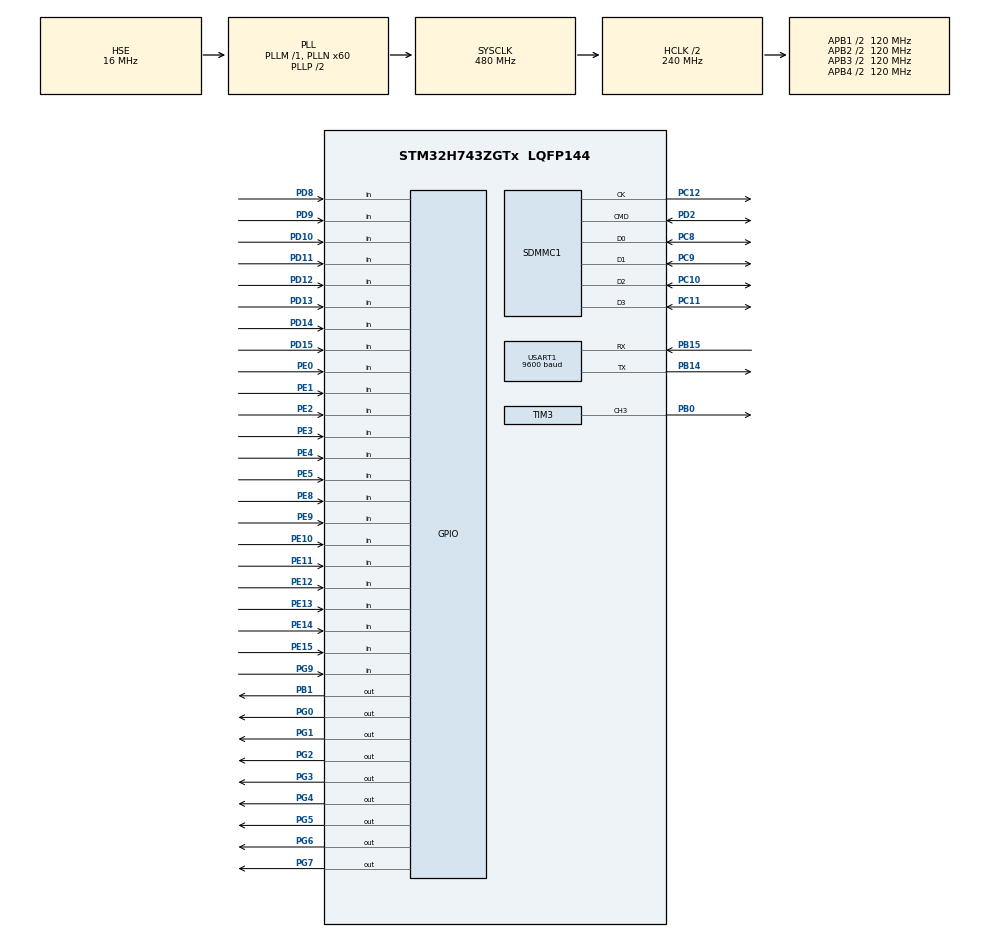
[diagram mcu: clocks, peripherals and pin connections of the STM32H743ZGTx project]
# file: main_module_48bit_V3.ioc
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Dma.Request0=TIM8_UP
Dma.Request1=TIM2_UP
Dma.TIM2_UP.1.Direction=DMA_PERIPH_TO_MEMORY
Dma.TIM2_UP.1.EventEnable=DISABLE
Dma.TIM2_UP.1.FIFOMode=DMA_FIFOMODE_DISABLE
Dma.TIM2_UP.1.Instance=DMA2_Stream0
Dma.TIM2_UP.1.MemDataAlignment=DMA_MDATAALIGN_HALFWORD
Dma.TIM2_UP.1.MemInc=DMA_MINC_ENABLE
Dma.TIM2_UP.1.Mode=DMA_NORMAL
Dma.TIM2_UP.1.PeriphDataAlignment=DMA_PDATAALIGN_HALFWORD
Dma.TIM2_UP.1.PeriphInc=DMA_PINC_DISABLE
Dma.TIM2_UP.1.Polarity=HAL_DMAMUX_REQ_GEN_RISING
Dma.TIM2_UP.1.Priority=DMA_PRIORITY_LOW
Dma.TIM2_UP.1.RequestNumber=1
Dma.TIM2_UP.1.SignalID=NONE
Dma.TIM2_UP.1.SyncEnable=DISABLE
Dma.TIM2_UP.1.SyncPolarity=HAL_DMAMUX_SYNC_NO_EVENT
Dma.TIM2_UP.1.SyncRequestNumber=1
Dma.TIM2_UP.1.SyncSignalID=NONE
Dma.TIM8_UP.0.Direction=DMA_MEMORY_TO_PERIPH
Dma.TIM8_UP.0.EventEnable=DISABLE
Dma.TIM8_UP.0.FIFOMode=DMA_FIFOMODE_DISABLE
Dma.TIM8_UP.0.Instance=DMA1_Stream0
Dma.TIM8_UP.0.MemDataAlignment=DMA_MDATAALIGN_WORD
Dma.TIM8_UP.0.MemInc=DMA_MINC_ENABLE
Dma.TIM8_UP.0.Mode=DMA_NORMAL
Dma.TIM8_UP.0.PeriphDataAlignment=DMA_PDATAALIGN_WORD
Dma.TIM8_UP.0.PeriphInc=DMA_PINC_DISABLE
Dma.TIM8_UP.0.Polarity=HAL_DMAMUX_REQ_GEN_RISING
Dma.TIM8_UP.0.Priority=DMA_PRIORITY_LOW
Dma.TIM8_UP.0.RequestNumber=1
Dma.TIM8_UP.0.SignalID=NONE
Dma.TIM8_UP.0.SyncEnable=DISABLE
Dma.TIM8_UP.0.SyncPolarity=HAL_DMAMUX_SYNC_NO_EVENT
Dma.TIM8_UP.0.SyncRequestNumber=1
Dma.TIM8_UP.0.SyncSignalID=NONE
Mcu.Family=STM32H7
Mcu.Name=STM32H743ZGTx
Mcu.Package=LQFP144
NVIC.PriorityGroup=NVIC_PRIORITYGROUP_4
NVIC.SDMMC1_IRQn=true\:0\:0\:false\:false\:true\:true\:true
NVIC.TIM3_IRQn=true\:0\:0\:true\:false\:true\:true\:true
NVIC.USART1_IRQn=true\:0\:0\:false\:false\:true\:true\:true
PB0.GPIO_Speed=GPIO_SPEED_FREQ_HIGH
PB0.Signal=S_TIM3_CH3
PB1.GPIO_Speed=GPIO_SPEED_FREQ_HIGH
PB1.Signal=GPIO_Output
PB14.Mode=Asynchronous
PB14.Signal=USART1_TX
PB15.Mode=Asynchronous
PB15.Signal=USART1_RX
PC10.Mode=SD_4_bits_Wide_bus
PC10.Signal=SDMMC1_D2
PC11.Mode=SD_4_bits_Wide_bus
PC11.Signal=SDMMC1_D3
PC12.Mode=SD_4_bits_Wide_bus
PC12.Signal=SDMMC1_CK
PC8.Mode=SD_4_bits_Wide_bus
PC8.Signal=SDMMC1_D0
PC9.Mode=SD_4_bits_Wide_bus
PC9.Signal=SDMMC1_D1
PD10.Signal=GPIO_Input
PD11.Signal=GPIO_Input
PD12.Signal=GPIO_Input
PD13.Signal=GPIO_Input
PD14.Signal=GPIO_Input
PD15.Signal=GPIO_Input
PD2.Mode=SD_4_bits_Wide_bus
PD2.Signal=SDMMC1_CMD
PD8.Signal=GPIO_Input
PD9.Signal=GPIO_Input
PE0.Signal=GPIO_Input
PE1.Signal=GPIO_Input
PE10.Signal=GPIO_Input
PE11.Signal=GPIO_Input
PE12.Signal=GPIO_Input
PE13.Signal=GPIO_Input
PE14.Signal=GPIO_Input
PE15.Signal=GPIO_Input
PE2.Signal=GPIO_Input
PE3.Signal=GPIO_Input
PE4.Signal=GPIO_Input
PE5.Signal=GPIO_Input
PE8.Signal=GPIO_Input
PE9.Signal=GPIO_Input
PG0.Signal=GPIO_Output
PG1.Signal=GPIO_Output
PG2.Signal=GPIO_Output
PG3.Signal=GPIO_Output
PG4.Signal=GPIO_Output
PG5.Signal=GPIO_Output
PG6.Signal=GPIO_Output
PG7.Signal=GPIO_Output
PG9.Signal=GPIO_Input
PH0-OSC_IN\ (PH0).Mode=HSE-External-Oscillator
PH0-OSC_IN\ (PH0).Signal=RCC_OSC_IN
PH1-OSC_OUT\ (PH1).Mode=HSE-External-Oscillator
PH1-OSC_OUT\ (PH1).Signal=RCC_OSC_OUT
ProjectManager.HeapSize=0x200
ProjectManager.StackSize=0x400
ProjectManager.TargetToolchain=STM32CubeIDE
RCC.ADCFreq_Value=120000000
RCC.APB1Freq_Value=120000000
RCC.APB2Freq_Value=120000000
RCC.APB3Freq_Value=120000000
RCC.APB4Freq_Value=120000000
RCC.CortexFreq_Value=480000000
RCC.D1PPRE=RCC_APB3_DIV2
RCC.D2PPRE1=RCC_APB1_DIV2
RCC.D2PPRE2=RCC_APB2_DIV2
RCC.D3PPRE=RCC_APB4_DIV2
RCC.DIVM1=1
RCC.DIVM2=1
RCC.DIVN1=60
RCC.DIVN2=15
RCC.DIVR2=1
RCC.HCLKFreq_Value=240000000
RCC.HPRE=RCC_HCLK_DIV2
RCC.HSE_VALUE=16000000
RCC.PLL1_VCO_SEL-AdvancedSettings=RCC_PLL1VCOMEDIUM
RCC.PLL2FRACN=0
RCC.PLL2_VCI_Range-AdvancedSettings=RCC_PLL2VCIRANGE_1
RCC.PLL2_VCO_SEL-AdvancedSettings=RCC_PLL2VCOMEDIUM
RCC.PLL3FRACN=0
RCC.PLLFRACN=0
RCC.PLLSourceVirtual=RCC_PLLSOURCE_HSE
RCC.PWR_Regulator_Voltage_Scale=PWR_REGULATOR_VOLTAGE_SCALE0
RCC.SDMMC1CLockSelection=RCC_SDMMCCLKSOURCE_PLL2
RCC.SYSCLKFreq_VALUE=480000000
RCC.SYSCLKSource=RCC_SYSCLKSOURCE_PLLCLK
RCC.USBFreq_Value=480000000
SDMMC1.ClockDiv=1
SDMMC1.HardwareFlowControl=SDMMC_HARDWARE_FLOW_CONTROL_ENABLE
SH.S_TIM3_CH3.0=TIM3_CH3,PWM Generation3 CH3
TIM2.Period=47
TIM3.Channel-Output\ Compare1\ No\ Output=TIM_CHANNEL_1
TIM3.Channel-PWM\ Generation3\ CH3=TIM_CHANNEL_3
TIM3.Period=9599
TIM3.Pulse-Output\ Compare1\ No\ Output=4799
TIM3.Pulse-PWM\ Generation3\ CH3=239
TIM8.Period=23
TIM8.Prescaler=0
TIM8.RepetitionCounter=0
USART1.BaudRate=9600
USART1.SwapParam=ADVFEATURE_SWAP_DISABLE
USART1.VirtualMode-Asynchronous=VM_ASYNC
VP_TIM2_VS_ClockSourceINT.Mode=Internal
VP_TIM3_VS_ClockSourceINT.Mode=Internal
VP_TIM3_VS_no_output1.Mode=Output Compare1 No Output
VP_TIM8_VS_ClockSourceINT.Mode=Internal
board=custom

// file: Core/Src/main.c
/* USER CODE BEGIN Header */
/**
  ******************************************************************************
  * @file           : main.c
  * @brief          : Main program body
  ******************************************************************************
  * @attention
  *
  * <h2><center>&copy; Copyright (c) 2022 STMicroelectronics.
  * All rights reserved.</center></h2>
  *
  * This software component is licensed by ST under Ultimate Liberty license
  * SLA0044, the "License"; You may not use this file except in compliance with
  * the License. You may obtain a copy of the License at:
  *                             www.st.com/SLA0044
  *
  ******************************************************************************
  */
/* USER CODE END Header */
#include "main.h"

/* USER CODE BEGIN Includes */
#include "sd_fifo/sd_fifo.h"
#include "simple_sd/simple_sd.h"

#include <string.h>
#include <stdio.h>
/* USER CODE END Includes */

SD_HandleTypeDef hsd1;

TIM_HandleTypeDef htim2;
TIM_HandleTypeDef htim3;
TIM_HandleTypeDef htim8;
DMA_HandleTypeDef hdma_tim2_up;
DMA_HandleTypeDef hdma_tim8_up;

UART_HandleTypeDef huart1;

/* USER CODE BEGIN PV */
extern void bit_parser(uint16_t* pData, uint16_t parsed[18]);
/* USER CODE END PV */

void SystemClock_Config(void);
static void MX_GPIO_Init(void);
static void MX_DMA_Init(void);
static void MX_TIM8_Init(void);
static void MX_TIM2_Init(void);
static void MX_SDMMC1_SD_Init(void);
static void MX_TIM3_Init(void);
static void MX_USART1_UART_Init(void);
/* USER CODE BEGIN PFP */
#define CLOCK_CNT		48

#define COL_SIZE    	(36)
#define CLK_BSRR_SIZE	(CLOCK_CNT * 2 + 2)
/* USER CODE END PFP */

/* USER CODE BEGIN 0 */
uint8_t rx;
uint8_t tx;

///////////////////////////////////////////////////////////////////////////////
// SD Variables
///////////////////////////////////////////////////////////////////////////////
enum LOG_STATE{
  LOG_IDLE,
  LOG_INIT,
  LOG_START,
  LOG_STOP,
  LOG_ERR
};

volatile enum LOG_STATE logState;

uint64_t log_bytes;
uint64_t log_blk;
uint8_t log_counts;

///////////////////////////////////////////////////////////////////////////////
// Channel Variables
///////////////////////////////////////////////////////////////////////////////
uint16_t channel_data[18];

uint32_t bsrr_clk[CLK_BSRR_SIZE] __attribute__((section(".dma.gpio")));
uint16_t idr_data[CLK_BSRR_SIZE >> 1] __attribute__((section(".dma.gpio"), aligned(32)));
uint16_t idr_data_tmp[CLK_BSRR_SIZE >> 1] __attribute__((aligned(32)));
void prepare_bsrr(){
	int i;

	memset(bsrr_clk, 0, sizeof(uint32_t) * CLK_BSRR_SIZE);

	// sclk : sync after 20us / 10MHz CLOCK_CNT
	for(i = 0; i < CLOCK_CNT; i++){
		bsrr_clk[2*i] |= 0x01UL << 1;
		bsrr_clk[2*i + 1] |= 0x01UL << 17;
	}
}

void reset_dma(){

	// [[ Read data ]]
	// Stop Timer
	__HAL_TIM_DISABLE(&htim2);
	htim2.Instance->CNT = 0;

	// Stop DMA & clear flags
	__HAL_TIM_DISABLE_DMA(&htim2, TIM_DMA_UPDATE);
	__HAL_DMA_DISABLE(&hdma_tim2_up);
	while(((DMA_Stream_TypeDef *)hdma_tim2_up.Instance)->CR & DMA_SxCR_EN);
	__HAL_DMA_CLEAR_FLAG(&hdma_tim2_up, DMA_FLAG_TCIF0_4 | DMA_FLAG_HTIF0_4 | DMA_FLAG_FEIF0_4);
	while(__HAL_DMA_GET_FLAG(&hdma_tim2_up, DMA_FLAG_TCIF0_4 | DMA_FLAG_HTIF0_4 | DMA_FLAG_FEIF0_4));

	// [[ Copy to temp ]]
	memcpy(idr_data_tmp, idr_data, CLOCK_CNT * 2);

	// Restart DMA
	__HAL_DMA_ENABLE(&hdma_tim2_up);
	__HAL_TIM_ENABLE_DMA(&htim2, TIM_DMA_UPDATE);

	// [[ Frame send ]]
	// Stop Timer
	__HAL_TIM_DISABLE(&htim8);
	htim8.Instance->CNT = 0;

	// Stop DMA & clear flags
	__HAL_TIM_DISABLE_DMA(&htim8, TIM_DMA_UPDATE);
	__HAL_DMA_DISABLE(&hdma_tim8_up);
	while(((DMA_Stream_TypeDef *)hdma_tim8_up.Instance)->CR & DMA_SxCR_EN);
	__HAL_DMA_CLEAR_FLAG(&hdma_tim8_up, DMA_FLAG_TCIF0_4 | DMA_FLAG_HTIF0_4 | DMA_FLAG_FEIF0_4);
	while(__HAL_DMA_GET_FLAG(&hdma_tim8_up, DMA_FLAG_TCIF0_4 | DMA_FLAG_HTIF0_4 | DMA_FLAG_FEIF0_4));

	// Restart DMA
	__HAL_DMA_ENABLE(&hdma_tim8_up);
	__HAL_TIM_ENABLE_DMA(&htim8, TIM_DMA_UPDATE);

	// Restart Timer
	__HAL_TIM_ENABLE(&htim8);
	__HAL_TIM_ENABLE(&htim2);
}

volatile static uint32_t e1,e2, de, de_max;
void HAL_TIM_OC_DelayElapsedCallback(TIM_HandleTypeDef *htim){
	if(htim == &htim3){
		e1 = htim3.Instance->CNT;
		reset_dma();

		bit_parser(idr_data_tmp, channel_data);
		e2 = htim3.Instance->CNT;
		de = e2 - e1;
		if(de_max < de) de_max = de;

		// [[ Logging ]]
		if(logState == LOG_START){
			if(!FIFO_put((uint8_t*)channel_data, COL_SIZE)){
				logState = LOG_ERR;
			}
		}
	}
}

void HAL_UART_RxCpltCallback(UART_HandleTypeDef *huart){
	if(huart == &huart1){
		if(rx == '1' && logState == LOG_IDLE){
			logState = LOG_INIT;
			HAL_UART_Transmit_IT(&huart1, "Log start!\r\n", 13);
		}else if(rx == '0' && logState == LOG_START){
			logState = LOG_STOP;
			HAL_UART_Transmit_IT(&huart1, "Log stop!\r\n", 12);
		}

		HAL_UART_Receive_IT(&huart1, &rx, 1);

	}
}

/* USER CODE END 0 */

int main(void)
{

  /* MCU Configuration--------------------------------------------------------*/

  /* Reset of all peripherals, Initializes the Flash interface and the Systick. */
  HAL_Init();

  /* Configure the system clock */
  SystemClock_Config();

  /* Initialize all configured peripherals */
  MX_GPIO_Init();
  MX_DMA_Init();
  MX_TIM8_Init();
  MX_TIM2_Init();
  MX_SDMMC1_SD_Init();
  MX_TIM3_Init();
  MX_USART1_UART_Init();
  /* USER CODE BEGIN 2 */

  // [[ Prepare CLK & SYNC ]]
  prepare_bsrr();

  FIFO_init();

  log_counts = 1;

  HAL_DMA_Start(&hdma_tim8_up, (uint32_t)bsrr_clk, (uint32_t)&GPIOB->BSRR, CLK_BSRR_SIZE);
  __HAL_TIM_ENABLE_DMA(&htim8, TIM_DMA_UPDATE);
  HAL_TIM_Base_Start(&htim8);

  // [[ Prepare DATA IN ]]
  HAL_DMA_Start(&hdma_tim2_up, (uint32_t)&GPIOE->IDR, (uint32_t)idr_data, CLK_BSRR_SIZE >> 1);
  __HAL_TIM_ENABLE_DMA(&htim2, TIM_DMA_UPDATE);
  HAL_TIM_Base_Start(&htim2);

  // [[ Start main timer ]]
  HAL_TIM_PWM_Start(&htim3, TIM_CHANNEL_3);
  HAL_TIM_OC_Start_IT(&htim3, TIM_CHANNEL_1);

  // [[ UART Interrupt Enable ]]
  HAL_UART_Receive_IT(&huart1, &rx, 1);

  /* USER CODE END 2 */

  /* Infinite loop */
  /* USER CODE BEGIN WHILE */
  while (1)
  {
		// Non real-time tasks
		switch (logState) {
		case LOG_IDLE :
			break;
		case LOG_INIT:
		{
			FIFO_init();
			if (Simple_SD_Init() != HAL_OK) {
				logState = LOG_ERR;
				break;
			}

			log_blk = 1; // one block offset
			log_bytes = 0;
			logState = LOG_START;

			break;

		}
		case LOG_STOP:
		{
			// Write header
			uint8_t *header = 0x24000000;
			memset(header, 0, 512);

			header[0] = 0x12;
			header[1] = 0x34;
			header[2] = 0x56;
			header[3] = 0x78;

			log_blk --;
			memcpy(header + 4, &log_blk, sizeof(uint64_t));
			if (Simple_SD_WriteBlocks_DMA(header, 0, 1) != HAL_OK) {
				logState = LOG_ERR;
			}else
				logState = LOG_IDLE;
		}
			break;

		case LOG_ERR:
			HAL_SD_DeInit(&hsd1);
			HAL_Delay(500);

			while(1){
				//NVIC_SystemReset();
			}

			break;

		case LOG_START:
		{
			uint8_t *tmp;
			tmp = FIFO_get();
			if (tmp != 0) {
				if (Simple_SD_WriteBlocks_DMA(tmp, log_blk, FIFO_BLK_SIZE / 512) != HAL_OK) {
					logState = LOG_ERR;
				}
				log_bytes += FIFO_BLK_SIZE;
				log_blk += FIFO_BLK_SIZE / 512;
			}
		}
			break;

		default:
			break;
		}
    /* USER CODE END WHILE */

  }
}

void SystemClock_Config(void)
{
  RCC_OscInitTypeDef RCC_OscInitStruct = {0};
  RCC_ClkInitTypeDef RCC_ClkInitStruct = {0};

  /** Supply configuration update enable
  */
  HAL_PWREx_ConfigSupply(PWR_LDO_SUPPLY);
  /** Configure the main internal regulator output voltage
  */
  __HAL_PWR_VOLTAGESCALING_CONFIG(PWR_REGULATOR_VOLTAGE_SCALE0);

  while(!__HAL_PWR_GET_FLAG(PWR_FLAG_VOSRDY)) {}
  /** Macro to configure the PLL clock source
  */
  __HAL_RCC_PLL_PLLSOURCE_CONFIG(RCC_PLLSOURCE_HSE);
  /** Initializes the RCC Oscillators according to the specified parameters
  * in the RCC_OscInitTypeDef structure.
  */
  RCC_OscInitStruct.OscillatorType = RCC_OSCILLATORTYPE_HSE;
  RCC_OscInitStruct.HSEState = RCC_HSE_ON;
  RCC_OscInitStruct.PLL.PLLState = RCC_PLL_ON;
  RCC_OscInitStruct.PLL.PLLSource = RCC_PLLSOURCE_HSE;
  RCC_OscInitStruct.PLL.PLLM = 1;
  RCC_OscInitStruct.PLL.PLLN = 60;
  RCC_OscInitStruct.PLL.PLLP = 2;
  RCC_OscInitStruct.PLL.PLLQ = 2;
  RCC_OscInitStruct.PLL.PLLR = 2;
  RCC_OscInitStruct.PLL.PLLRGE = RCC_PLL1VCIRANGE_3;
  RCC_OscInitStruct.PLL.PLLVCOSEL = RCC_PLL1VCOWIDE;
  RCC_OscInitStruct.PLL.PLLFRACN = 0;
  if (HAL_RCC_OscConfig(&RCC_OscInitStruct) != HAL_OK)
  {
    Error_Handler();
  }
  /** Initializes the CPU, AHB and APB buses clocks
  */
  RCC_ClkInitStruct.ClockType = RCC_CLOCKTYPE_HCLK|RCC_CLOCKTYPE_SYSCLK
                              |RCC_CLOCKTYPE_PCLK1|RCC_CLOCKTYPE_PCLK2
                              |RCC_CLOCKTYPE_D3PCLK1|RCC_CLOCKTYPE_D1PCLK1;
  RCC_ClkInitStruct.SYSCLKSource = RCC_SYSCLKSOURCE_PLLCLK;
  RCC_ClkInitStruct.SYSCLKDivider = RCC_SYSCLK_DIV1;
  RCC_ClkInitStruct.AHBCLKDivider = RCC_HCLK_DIV2;
  RCC_ClkInitStruct.APB3CLKDivider = RCC_APB3_DIV2;
  RCC_ClkInitStruct.APB1CLKDivider = RCC_APB1_DIV2;
  RCC_ClkInitStruct.APB2CLKDivider = RCC_APB2_DIV2;
  RCC_ClkInitStruct.APB4CLKDivider = RCC_APB4_DIV2;

  if (HAL_RCC_ClockConfig(&RCC_ClkInitStruct, FLASH_LATENCY_4) != HAL_OK)
  {
    Error_Handler();
  }
}

static void MX_SDMMC1_SD_Init(void)
{

  hsd1.Instance = SDMMC1;
  hsd1.Init.ClockEdge = SDMMC_CLOCK_EDGE_RISING;
  hsd1.Init.ClockPowerSave = SDMMC_CLOCK_POWER_SAVE_DISABLE;
  hsd1.Init.BusWide = SDMMC_BUS_WIDE_4B;
  hsd1.Init.HardwareFlowControl = SDMMC_HARDWARE_FLOW_CONTROL_ENABLE;
  hsd1.Init.ClockDiv = 1;
  if (HAL_SD_Init(&hsd1) != HAL_OK)
  {
    Error_Handler();
  }

}

static void MX_TIM2_Init(void)
{

  TIM_ClockConfigTypeDef sClockSourceConfig = {0};
  TIM_MasterConfigTypeDef sMasterConfig = {0};

  htim2.Instance = TIM2;
  htim2.Init.Prescaler = 0;
  htim2.Init.CounterMode = TIM_COUNTERMODE_UP;
  htim2.Init.Period = 47;
  htim2.Init.ClockDivision = TIM_CLOCKDIVISION_DIV1;
  htim2.Init.AutoReloadPreload = TIM_AUTORELOAD_PRELOAD_DISABLE;
  if (HAL_TIM_Base_Init(&htim2) != HAL_OK)
  {
    Error_Handler();
  }
  sClockSourceConfig.ClockSource = TIM_CLOCKSOURCE_INTERNAL;
  if (HAL_TIM_ConfigClockSource(&htim2, &sClockSourceConfig) != HAL_OK)
  {
    Error_Handler();
  }
  sMasterConfig.MasterOutputTrigger = TIM_TRGO_RESET;
  sMasterConfig.MasterSlaveMode = TIM_MASTERSLAVEMODE_DISABLE;
  if (HAL_TIMEx_MasterConfigSynchronization(&htim2, &sMasterConfig) != HAL_OK)
  {
    Error_Handler();
  }

}

static void MX_TIM3_Init(void)
{

  TIM_ClockConfigTypeDef sClockSourceConfig = {0};
  TIM_MasterConfigTypeDef sMasterConfig = {0};
  TIM_OC_InitTypeDef sConfigOC = {0};

  htim3.Instance = TIM3;
  htim3.Init.Prescaler = 0;
  htim3.Init.CounterMode = TIM_COUNTERMODE_UP;
  htim3.Init.Period = 9599;
  htim3.Init.ClockDivision = TIM_CLOCKDIVISION_DIV1;
  htim3.Init.AutoReloadPreload = TIM_AUTORELOAD_PRELOAD_DISABLE;
  if (HAL_TIM_Base_Init(&htim3) != HAL_OK)
  {
    Error_Handler();
  }
  sClockSourceConfig.ClockSource = TIM_CLOCKSOURCE_INTERNAL;
  if (HAL_TIM_ConfigClockSource(&htim3, &sClockSourceConfig) != HAL_OK)
  {
    Error_Handler();
  }
  if (HAL_TIM_OC_Init(&htim3) != HAL_OK)
  {
    Error_Handler();
  }
  if (HAL_TIM_PWM_Init(&htim3) != HAL_OK)
  {
    Error_Handler();
  }
  sMasterConfig.MasterOutputTrigger = TIM_TRGO_RESET;
  sMasterConfig.MasterSlaveMode = TIM_MASTERSLAVEMODE_DISABLE;
  if (HAL_TIMEx_MasterConfigSynchronization(&htim3, &sMasterConfig) != HAL_OK)
  {
    Error_Handler();
  }
  sConfigOC.OCMode = TIM_OCMODE_TIMING;
  sConfigOC.Pulse = 4799;
  sConfigOC.OCPolarity = TIM_OCPOLARITY_HIGH;
  sConfigOC.OCFastMode = TIM_OCFAST_DISABLE;
  if (HAL_TIM_OC_ConfigChannel(&htim3, &sConfigOC, TIM_CHANNEL_1) != HAL_OK)
  {
    Error_Handler();
  }
  sConfigOC.OCMode = TIM_OCMODE_PWM1;
  sConfigOC.Pulse = 239;
  if (HAL_TIM_PWM_ConfigChannel(&htim3, &sConfigOC, TIM_CHANNEL_3) != HAL_OK)
  {
    Error_Handler();
  }
  HAL_TIM_MspPostInit(&htim3);

}

static void MX_TIM8_Init(void)
{

  TIM_ClockConfigTypeDef sClockSourceConfig = {0};
  TIM_MasterConfigTypeDef sMasterConfig = {0};

  htim8.Instance = TIM8;
  htim8.Init.Prescaler = 0;
  htim8.Init.CounterMode = TIM_COUNTERMODE_UP;
  htim8.Init.Period = 23;
  htim8.Init.ClockDivision = TIM_CLOCKDIVISION_DIV1;
  htim8.Init.RepetitionCounter = 0;
  htim8.Init.AutoReloadPreload = TIM_AUTORELOAD_PRELOAD_DISABLE;
  if (HAL_TIM_Base_Init(&htim8) != HAL_OK)
  {
    Error_Handler();
  }
  sClockSourceConfig.ClockSource = TIM_CLOCKSOURCE_INTERNAL;
  if (HAL_TIM_ConfigClockSource(&htim8, &sClockSourceConfig) != HAL_OK)
  {
    Error_Handler();
  }
  sMasterConfig.MasterOutputTrigger = TIM_TRGO_RESET;
  sMasterConfig.MasterOutputTrigger2 = TIM_TRGO2_RESET;
  sMasterConfig.MasterSlaveMode = TIM_MASTERSLAVEMODE_DISABLE;
  if (HAL_TIMEx_MasterConfigSynchronization(&htim8, &sMasterConfig) != HAL_OK)
  {
    Error_Handler();
  }

}

static void MX_USART1_UART_Init(void)
{

  huart1.Instance = USART1;
  huart1.Init.BaudRate = 9600;
  huart1.Init.WordLength = UART_WORDLENGTH_8B;
  huart1.Init.StopBits = UART_STOPBITS_1;
  huart1.Init.Parity = UART_PARITY_NONE;
  huart1.Init.Mode = UART_MODE_TX_RX;
  huart1.Init.HwFlowCtl = UART_HWCONTROL_NONE;
  huart1.Init.OverSampling = UART_OVERSAMPLING_16;
  huart1.Init.OneBitSampling = UART_ONE_BIT_SAMPLE_DISABLE;
  huart1.Init.ClockPrescaler = UART_PRESCALER_DIV1;
  huart1.AdvancedInit.AdvFeatureInit = UART_ADVFEATURE_NO_INIT;
  if (HAL_UART_Init(&huart1) != HAL_OK)
  {
    Error_Handler();
  }
  if (HAL_UARTEx_SetTxFifoThreshold(&huart1, UART_TXFIFO_THRESHOLD_1_8) != HAL_OK)
  {
    Error_Handler();
  }
  if (HAL_UARTEx_SetRxFifoThreshold(&huart1, UART_RXFIFO_THRESHOLD_1_8) != HAL_OK)
  {
    Error_Handler();
  }
  if (HAL_UARTEx_DisableFifoMode(&huart1) != HAL_OK)
  {
    Error_Handler();
  }

}

static void MX_DMA_Init(void)
{

  /* DMA controller clock enable */
  __HAL_RCC_DMA1_CLK_ENABLE();
  __HAL_RCC_DMA2_CLK_ENABLE();

}

static void MX_GPIO_Init(void)
{
  GPIO_InitTypeDef GPIO_InitStruct = {0};

  /* GPIO Ports Clock Enable */
  __HAL_RCC_GPIOE_CLK_ENABLE();
  __HAL_RCC_GPIOH_CLK_ENABLE();
  __HAL_RCC_GPIOB_CLK_ENABLE();
  __HAL_RCC_GPIOG_CLK_ENABLE();
  __HAL_RCC_GPIOD_CLK_ENABLE();
  __HAL_RCC_GPIOC_CLK_ENABLE();

  /*Configure GPIO pin Output Level */
  HAL_GPIO_WritePin(GPIOB, GPIO_PIN_1, GPIO_PIN_RESET);

  /*Configure GPIO pin Output Level */
  HAL_GPIO_WritePin(GPIOG, GPIO_PIN_0|GPIO_PIN_1|GPIO_PIN_2|GPIO_PIN_3
                          |GPIO_PIN_4|GPIO_PIN_5|GPIO_PIN_6|GPIO_PIN_7, GPIO_PIN_RESET);

  /*Configure GPIO pins : PE2 PE3 PE4 PE5
                           PE8 PE9 PE10 PE11
                           PE12 PE13 PE14 PE15
                           PE0 PE1 */
  GPIO_InitStruct.Pin = GPIO_PIN_2|GPIO_PIN_3|GPIO_PIN_4|GPIO_PIN_5
                          |GPIO_PIN_8|GPIO_PIN_9|GPIO_PIN_10|GPIO_PIN_11
                          |GPIO_PIN_12|GPIO_PIN_13|GPIO_PIN_14|GPIO_PIN_15
                          |GPIO_PIN_0|GPIO_PIN_1;
  GPIO_InitStruct.Mode = GPIO_MODE_INPUT;
  GPIO_InitStruct.Pull = GPIO_NOPULL;
  HAL_GPIO_Init(GPIOE, &GPIO_InitStruct);

  /*Configure GPIO pin : PB1 */
  GPIO_InitStruct.Pin = GPIO_PIN_1;
  GPIO_InitStruct.Mode = GPIO_MODE_OUTPUT_PP;
  GPIO_InitStruct.Pull = GPIO_NOPULL;
  GPIO_InitStruct.Speed = GPIO_SPEED_FREQ_HIGH;
  HAL_GPIO_Init(GPIOB, &GPIO_InitStruct);

  /*Configure GPIO pins : PG0 PG1 PG2 PG3
                           PG4 PG5 PG6 PG7 */
  GPIO_InitStruct.Pin = GPIO_PIN_0|GPIO_PIN_1|GPIO_PIN_2|GPIO_PIN_3
                          |GPIO_PIN_4|GPIO_PIN_5|GPIO_PIN_6|GPIO_PIN_7;
  GPIO_InitStruct.Mode = GPIO_MODE_OUTPUT_PP;
  GPIO_InitStruct.Pull = GPIO_NOPULL;
  GPIO_InitStruct.Speed = GPIO_SPEED_FREQ_LOW;
  HAL_GPIO_Init(GPIOG, &GPIO_InitStruct);

  /*Configure GPIO pins : PD8 PD9 PD10 PD11
                           PD12 PD13 PD14 PD15 */
  GPIO_InitStruct.Pin = GPIO_PIN_8|GPIO_PIN_9|GPIO_PIN_10|GPIO_PIN_11
                          |GPIO_PIN_12|GPIO_PIN_13|GPIO_PIN_14|GPIO_PIN_15;
  GPIO_InitStruct.Mode = GPIO_MODE_INPUT;
  GPIO_InitStruct.Pull = GPIO_NOPULL;
  HAL_GPIO_Init(GPIOD, &GPIO_InitStruct);

  /*Configure GPIO pin : PG9 */
  GPIO_InitStruct.Pin = GPIO_PIN_9;
  GPIO_InitStruct.Mode = GPIO_MODE_INPUT;
  GPIO_InitStruct.Pull = GPIO_NOPULL;
  HAL_GPIO_Init(GPIOG, &GPIO_InitStruct);

}

void Error_Handler(void)
{
  __disable_irq();
  while (1)
  {
  }
}
